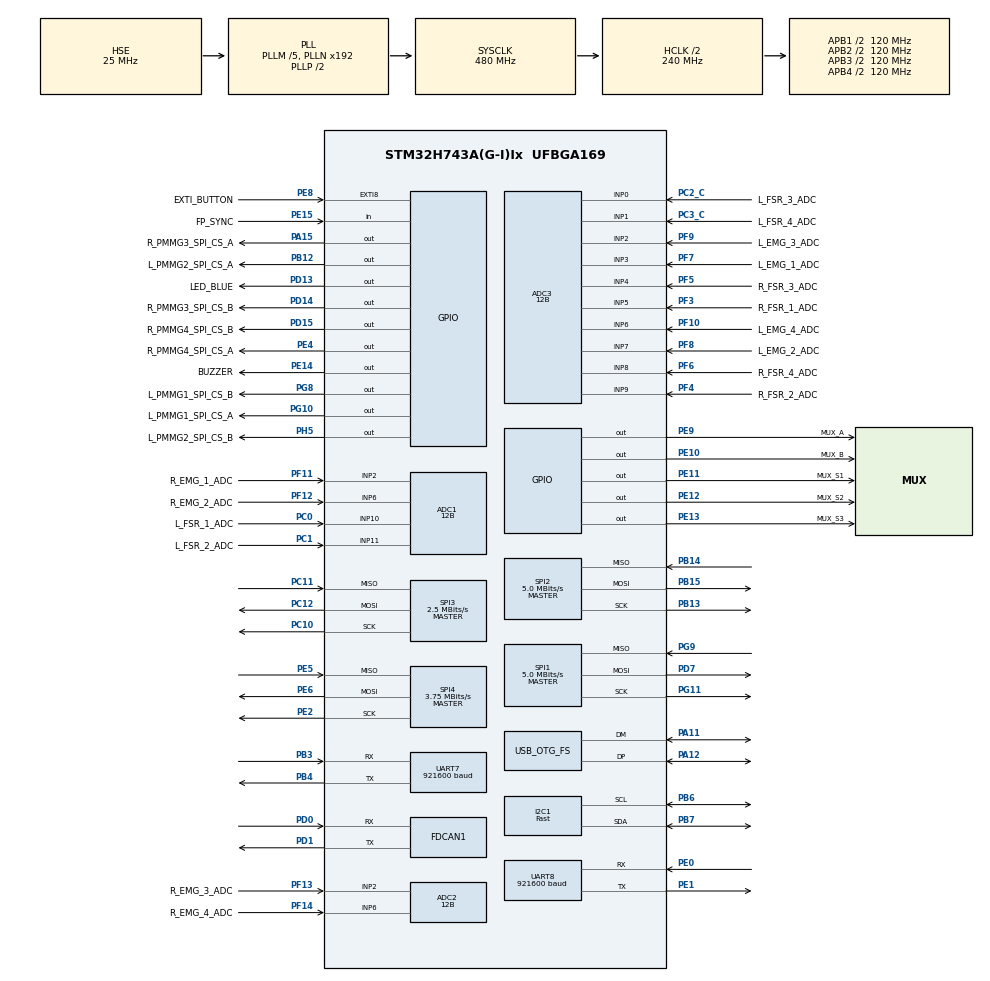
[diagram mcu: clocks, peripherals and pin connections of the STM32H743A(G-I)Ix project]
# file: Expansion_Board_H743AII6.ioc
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ADC1.Channel-1\#ChannelRegularConversion=ADC_CHANNEL_2
ADC1.Channel-2\#ChannelRegularConversion=ADC_CHANNEL_6
ADC1.Channel-3\#ChannelRegularConversion=ADC_CHANNEL_10
ADC1.Channel-4\#ChannelRegularConversion=ADC_CHANNEL_11
ADC1.ClockPrescaler=ADC_CLOCK_ASYNC_DIV16
ADC1.ClockPrescalerADC3=ADC_CLOCK_ASYNC_DIV16
ADC1.ContinuousConvMode=ENABLE
ADC1.ConversionDataManagement=ADC_CONVERSIONDATA_DMA_CIRCULAR
ADC1.EOCSelection=ADC_EOC_SEQ_CONV
ADC1.NbrOfConversion=4
ADC1.NbrOfConversionFlag=1
ADC1.OffsetNumber-1\#ChannelRegularConversion=ADC_OFFSET_NONE
ADC1.OffsetNumber-2\#ChannelRegularConversion=ADC_OFFSET_NONE
ADC1.OffsetNumber-3\#ChannelRegularConversion=ADC_OFFSET_NONE
ADC1.OffsetNumber-4\#ChannelRegularConversion=ADC_OFFSET_NONE
ADC1.OffsetSignedSaturation-1\#ChannelRegularConversion=DISABLE
ADC1.Rank-1\#ChannelRegularConversion=1
ADC1.Rank-2\#ChannelRegularConversion=2
ADC1.Rank-3\#ChannelRegularConversion=3
ADC1.Rank-4\#ChannelRegularConversion=4
ADC1.Resolution=ADC_RESOLUTION_12B
ADC1.SamplingTime-1\#ChannelRegularConversion=ADC_SAMPLETIME_32CYCLES_5
ADC1.SamplingTime-2\#ChannelRegularConversion=ADC_SAMPLETIME_32CYCLES_5
ADC1.SamplingTime-3\#ChannelRegularConversion=ADC_SAMPLETIME_32CYCLES_5
ADC1.SamplingTime-4\#ChannelRegularConversion=ADC_SAMPLETIME_32CYCLES_5
ADC1.master=1
ADC2.Channel-0\#ChannelRegularConversion=ADC_CHANNEL_2
ADC2.Channel-1\#ChannelRegularConversion=ADC_CHANNEL_6
ADC2.ClockPrescaler=ADC_CLOCK_ASYNC_DIV16
ADC2.ClockPrescalerADC3=ADC_CLOCK_ASYNC_DIV16
ADC2.ContinuousConvMode=ENABLE
ADC2.ConversionDataManagement=ADC_CONVERSIONDATA_DMA_CIRCULAR
ADC2.EOCSelection=ADC_EOC_SEQ_CONV
ADC2.NbrOfConversion=2
ADC2.NbrOfConversionFlag=1
ADC2.OffsetNumber-0\#ChannelRegularConversion=ADC_OFFSET_NONE
ADC2.OffsetNumber-1\#ChannelRegularConversion=ADC_OFFSET_NONE
ADC2.OffsetSignedSaturation-0\#ChannelRegularConversion=DISABLE
ADC2.Rank-0\#ChannelRegularConversion=1
ADC2.Rank-1\#ChannelRegularConversion=2
ADC2.Resolution=ADC_RESOLUTION_12B
ADC2.SamplingTime-0\#ChannelRegularConversion=ADC_SAMPLETIME_32CYCLES_5
ADC2.SamplingTime-1\#ChannelRegularConversion=ADC_SAMPLETIME_32CYCLES_5
ADC3.Channel-0\#ChannelRegularConversion=ADC_CHANNEL_0
ADC3.Channel-1\#ChannelRegularConversion=ADC_CHANNEL_1
ADC3.Channel-2\#ChannelRegularConversion=ADC_CHANNEL_2
ADC3.Channel-3\#ChannelRegularConversion=ADC_CHANNEL_3
ADC3.Channel-4\#ChannelRegularConversion=ADC_CHANNEL_4
ADC3.Channel-5\#ChannelRegularConversion=ADC_CHANNEL_5
ADC3.Channel-6\#ChannelRegularConversion=ADC_CHANNEL_6
ADC3.Channel-7\#ChannelRegularConversion=ADC_CHANNEL_7
ADC3.Channel-8\#ChannelRegularConversion=ADC_CHANNEL_8
ADC3.Channel-9\#ChannelRegularConversion=ADC_CHANNEL_9
ADC3.ClockPrescaler=ADC_CLOCK_ASYNC_DIV16
ADC3.ClockPrescalerADC3=ADC_CLOCK_ASYNC_DIV16
ADC3.ContinuousConvMode=ENABLE
ADC3.ConversionDataManagement=ADC_CONVERSIONDATA_DMA_CIRCULAR
ADC3.EOCSelection=ADC_EOC_SEQ_CONV
ADC3.NbrOfConversion=10
ADC3.NbrOfConversionFlag=1
ADC3.OffsetNumber-0\#ChannelRegularConversion=ADC_OFFSET_NONE
ADC3.OffsetNumber-1\#ChannelRegularConversion=ADC_OFFSET_NONE
ADC3.OffsetNumber-2\#ChannelRegularConversion=ADC_OFFSET_NONE
ADC3.OffsetNumber-3\#ChannelRegularConversion=ADC_OFFSET_NONE
ADC3.OffsetNumber-4\#ChannelRegularConversion=ADC_OFFSET_NONE
ADC3.OffsetNumber-5\#ChannelRegularConversion=ADC_OFFSET_NONE
ADC3.OffsetNumber-6\#ChannelRegularConversion=ADC_OFFSET_NONE
ADC3.OffsetNumber-7\#ChannelRegularConversion=ADC_OFFSET_NONE
ADC3.OffsetNumber-8\#ChannelRegularConversion=ADC_OFFSET_NONE
ADC3.OffsetNumber-9\#ChannelRegularConversion=ADC_OFFSET_NONE
ADC3.OffsetSignedSaturation-0\#ChannelRegularConversion=DISABLE
ADC3.Rank-0\#ChannelRegularConversion=1
ADC3.Rank-1\#ChannelRegularConversion=2
ADC3.Rank-2\#ChannelRegularConversion=3
ADC3.Rank-3\#ChannelRegularConversion=4
ADC3.Rank-4\#ChannelRegularConversion=5
ADC3.Rank-5\#ChannelRegularConversion=6
ADC3.Rank-6\#ChannelRegularConversion=7
ADC3.Rank-7\#ChannelRegularConversion=8
ADC3.Rank-8\#ChannelRegularConversion=9
ADC3.Rank-9\#ChannelRegularConversion=10
ADC3.Resolution=ADC_RESOLUTION_12B
ADC3.SamplingTime-0\#ChannelRegularConversion=ADC_SAMPLETIME_32CYCLES_5
ADC3.SamplingTime-1\#ChannelRegularConversion=ADC_SAMPLETIME_32CYCLES_5
ADC3.SamplingTime-2\#ChannelRegularConversion=ADC_SAMPLETIME_32CYCLES_5
ADC3.SamplingTime-3\#ChannelRegularConversion=ADC_SAMPLETIME_32CYCLES_5
ADC3.SamplingTime-4\#ChannelRegularConversion=ADC_SAMPLETIME_32CYCLES_5
ADC3.SamplingTime-5\#ChannelRegularConversion=ADC_SAMPLETIME_32CYCLES_5
ADC3.SamplingTime-6\#ChannelRegularConversion=ADC_SAMPLETIME_32CYCLES_5
ADC3.SamplingTime-7\#ChannelRegularConversion=ADC_SAMPLETIME_32CYCLES_5
ADC3.SamplingTime-8\#ChannelRegularConversion=ADC_SAMPLETIME_32CYCLES_5
ADC3.SamplingTime-9\#ChannelRegularConversion=ADC_SAMPLETIME_32CYCLES_5
CORTEX_M7.AccessPermission-Cortex_Memory_Protection_Unit_Region0_Settings=MPU_REGION_FULL_ACCESS
CORTEX_M7.BaseAddress-Cortex_Memory_Protection_Unit_Region0_Settings=0x30000000
CORTEX_M7.CPU_DCache=Enabled
CORTEX_M7.CPU_ICache=Enabled
CORTEX_M7.DisableExec-Cortex_Memory_Protection_Unit_Region0_Settings=MPU_INSTRUCTION_ACCESS_DISABLE
CORTEX_M7.Enable-Cortex_Memory_Protection_Unit_Region0_Settings=MPU_REGION_ENABLE
CORTEX_M7.IsShareable-Cortex_Memory_Protection_Unit_Region0_Settings=MPU_ACCESS_SHAREABLE
CORTEX_M7.MPU_Control=MPU_PRIVILEGED_DEFAULT
CORTEX_M7.Size-Cortex_Memory_Protection_Unit_Region0_Settings=MPU_REGION_SIZE_32KB
CORTEX_M7.TypeExtField-Cortex_Memory_Protection_Unit_Region0_Settings=MPU_TEX_LEVEL1
Dma.ADC1.0.Direction=DMA_PERIPH_TO_MEMORY
Dma.ADC1.0.EventEnable=DISABLE
Dma.ADC1.0.FIFOMode=DMA_FIFOMODE_DISABLE
Dma.ADC1.0.Instance=DMA1_Stream0
Dma.ADC1.0.MemDataAlignment=DMA_MDATAALIGN_HALFWORD
Dma.ADC1.0.MemInc=DMA_MINC_ENABLE
Dma.ADC1.0.Mode=DMA_CIRCULAR
Dma.ADC1.0.PeriphDataAlignment=DMA_PDATAALIGN_HALFWORD
Dma.ADC1.0.PeriphInc=DMA_PINC_DISABLE
Dma.ADC1.0.Polarity=HAL_DMAMUX_REQ_GEN_RISING
Dma.ADC1.0.Priority=DMA_PRIORITY_LOW
Dma.ADC1.0.RequestNumber=1
Dma.ADC1.0.SignalID=NONE
Dma.ADC1.0.SyncEnable=DISABLE
Dma.ADC1.0.SyncPolarity=HAL_DMAMUX_SYNC_NO_EVENT
Dma.ADC1.0.SyncRequestNumber=1
Dma.ADC1.0.SyncSignalID=NONE
Dma.ADC2.2.Direction=DMA_PERIPH_TO_MEMORY
Dma.ADC2.2.EventEnable=DISABLE
Dma.ADC2.2.FIFOMode=DMA_FIFOMODE_DISABLE
Dma.ADC2.2.Instance=DMA1_Stream1
Dma.ADC2.2.MemDataAlignment=DMA_MDATAALIGN_HALFWORD
Dma.ADC2.2.MemInc=DMA_MINC_ENABLE
Dma.ADC2.2.Mode=DMA_CIRCULAR
Dma.ADC2.2.PeriphDataAlignment=DMA_PDATAALIGN_HALFWORD
Dma.ADC2.2.PeriphInc=DMA_PINC_DISABLE
Dma.ADC2.2.Polarity=HAL_DMAMUX_REQ_GEN_RISING
Dma.ADC2.2.Priority=DMA_PRIORITY_LOW
Dma.ADC2.2.RequestNumber=1
Dma.ADC2.2.SignalID=NONE
Dma.ADC2.2.SyncEnable=DISABLE
Dma.ADC2.2.SyncPolarity=HAL_DMAMUX_SYNC_NO_EVENT
Dma.ADC2.2.SyncRequestNumber=1
Dma.ADC2.2.SyncSignalID=NONE
Dma.ADC3.3.Direction=DMA_PERIPH_TO_MEMORY
Dma.ADC3.3.EventEnable=DISABLE
Dma.ADC3.3.FIFOMode=DMA_FIFOMODE_DISABLE
Dma.ADC3.3.Instance=DMA1_Stream2
Dma.ADC3.3.MemDataAlignment=DMA_MDATAALIGN_HALFWORD
Dma.ADC3.3.MemInc=DMA_MINC_ENABLE
Dma.ADC3.3.Mode=DMA_CIRCULAR
Dma.ADC3.3.PeriphDataAlignment=DMA_PDATAALIGN_HALFWORD
Dma.ADC3.3.PeriphInc=DMA_PINC_DISABLE
Dma.ADC3.3.Polarity=HAL_DMAMUX_REQ_GEN_RISING
Dma.ADC3.3.Priority=DMA_PRIORITY_LOW
Dma.ADC3.3.RequestNumber=1
Dma.ADC3.3.SignalID=NONE
Dma.ADC3.3.SyncEnable=DISABLE
Dma.ADC3.3.SyncPolarity=HAL_DMAMUX_SYNC_NO_EVENT
Dma.ADC3.3.SyncRequestNumber=1
Dma.ADC3.3.SyncSignalID=NONE
Dma.I2C1_RX.1.Direction=DMA_PERIPH_TO_MEMORY
Dma.I2C1_RX.1.EventEnable=DISABLE
Dma.I2C1_RX.1.FIFOMode=DMA_FIFOMODE_DISABLE
Dma.I2C1_RX.1.Instance=DMA2_Stream0
Dma.I2C1_RX.1.MemDataAlignment=DMA_MDATAALIGN_BYTE
Dma.I2C1_RX.1.MemInc=DMA_MINC_ENABLE
Dma.I2C1_RX.1.Mode=DMA_NORMAL
Dma.I2C1_RX.1.PeriphDataAlignment=DMA_PDATAALIGN_BYTE
Dma.I2C1_RX.1.PeriphInc=DMA_PINC_DISABLE
Dma.I2C1_RX.1.Polarity=HAL_DMAMUX_REQ_GEN_RISING
Dma.I2C1_RX.1.Priority=DMA_PRIORITY_LOW
Dma.I2C1_RX.1.RequestNumber=1
Dma.I2C1_RX.1.SignalID=NONE
Dma.I2C1_RX.1.SyncEnable=DISABLE
Dma.I2C1_RX.1.SyncPolarity=HAL_DMAMUX_SYNC_NO_EVENT
Dma.I2C1_RX.1.SyncRequestNumber=1
Dma.I2C1_RX.1.SyncSignalID=NONE
Dma.Request0=ADC1
Dma.Request1=I2C1_RX
Dma.Request2=ADC2
Dma.Request3=ADC3
Dma.Request4=UART7_TX
Dma.Request5=UART8_TX
Dma.Request6=UART7_RX
Dma.Request7=UART8_RX
Dma.UART7_RX.6.Direction=DMA_PERIPH_TO_MEMORY
Dma.UART7_RX.6.EventEnable=DISABLE
Dma.UART7_RX.6.FIFOMode=DMA_FIFOMODE_DISABLE
Dma.UART7_RX.6.Instance=DMA1_Stream3
Dma.UART7_RX.6.MemDataAlignment=DMA_MDATAALIGN_BYTE
Dma.UART7_RX.6.MemInc=DMA_MINC_ENABLE
Dma.UART7_RX.6.Mode=DMA_CIRCULAR
Dma.UART7_RX.6.PeriphDataAlignment=DMA_PDATAALIGN_BYTE
Dma.UART7_RX.6.PeriphInc=DMA_PINC_DISABLE
Dma.UART7_RX.6.Polarity=HAL_DMAMUX_REQ_GEN_RISING
Dma.UART7_RX.6.Priority=DMA_PRIORITY_LOW
Dma.UART7_RX.6.RequestNumber=1
Dma.UART7_RX.6.SignalID=NONE
Dma.UART7_RX.6.SyncEnable=DISABLE
Dma.UART7_RX.6.SyncPolarity=HAL_DMAMUX_SYNC_NO_EVENT
Dma.UART7_RX.6.SyncRequestNumber=1
Dma.UART7_RX.6.SyncSignalID=NONE
Dma.UART7_TX.4.Direction=DMA_MEMORY_TO_PERIPH
Dma.UART7_TX.4.EventEnable=DISABLE
Dma.UART7_TX.4.FIFOMode=DMA_FIFOMODE_DISABLE
Dma.UART7_TX.4.Instance=DMA1_Stream4
Dma.UART7_TX.4.MemDataAlignment=DMA_MDATAALIGN_BYTE
Dma.UART7_TX.4.MemInc=DMA_MINC_ENABLE
Dma.UART7_TX.4.Mode=DMA_NORMAL
Dma.UART7_TX.4.PeriphDataAlignment=DMA_PDATAALIGN_BYTE
Dma.UART7_TX.4.PeriphInc=DMA_PINC_DISABLE
Dma.UART7_TX.4.Polarity=HAL_DMAMUX_REQ_GEN_RISING
Dma.UART7_TX.4.Priority=DMA_PRIORITY_LOW
Dma.UART7_TX.4.RequestNumber=1
Dma.UART7_TX.4.SignalID=NONE
Dma.UART7_TX.4.SyncEnable=DISABLE
Dma.UART7_TX.4.SyncPolarity=HAL_DMAMUX_SYNC_NO_EVENT
Dma.UART7_TX.4.SyncRequestNumber=1
Dma.UART7_TX.4.SyncSignalID=NONE
Dma.UART8_RX.7.Direction=DMA_PERIPH_TO_MEMORY
Dma.UART8_RX.7.EventEnable=DISABLE
Dma.UART8_RX.7.FIFOMode=DMA_FIFOMODE_DISABLE
Dma.UART8_RX.7.Instance=DMA1_Stream5
Dma.UART8_RX.7.MemDataAlignment=DMA_MDATAALIGN_BYTE
Dma.UART8_RX.7.MemInc=DMA_MINC_ENABLE
Dma.UART8_RX.7.Mode=DMA_CIRCULAR
Dma.UART8_RX.7.PeriphDataAlignment=DMA_PDATAALIGN_BYTE
Dma.UART8_RX.7.PeriphInc=DMA_PINC_DISABLE
Dma.UART8_RX.7.Polarity=HAL_DMAMUX_REQ_GEN_RISING
Dma.UART8_RX.7.Priority=DMA_PRIORITY_LOW
Dma.UART8_RX.7.RequestNumber=1
Dma.UART8_RX.7.SignalID=NONE
Dma.UART8_RX.7.SyncEnable=DISABLE
Dma.UART8_RX.7.SyncPolarity=HAL_DMAMUX_SYNC_NO_EVENT
Dma.UART8_RX.7.SyncRequestNumber=1
Dma.UART8_RX.7.SyncSignalID=NONE
Dma.UART8_TX.5.Direction=DMA_MEMORY_TO_PERIPH
Dma.UART8_TX.5.EventEnable=DISABLE
Dma.UART8_TX.5.FIFOMode=DMA_FIFOMODE_DISABLE
Dma.UART8_TX.5.Instance=DMA2_Stream2
Dma.UART8_TX.5.MemDataAlignment=DMA_MDATAALIGN_BYTE
Dma.UART8_TX.5.MemInc=DMA_MINC_ENABLE
Dma.UART8_TX.5.Mode=DMA_NORMAL
Dma.UART8_TX.5.PeriphDataAlignment=DMA_PDATAALIGN_BYTE
Dma.UART8_TX.5.PeriphInc=DMA_PINC_DISABLE
Dma.UART8_TX.5.Polarity=HAL_DMAMUX_REQ_GEN_RISING
Dma.UART8_TX.5.Priority=DMA_PRIORITY_LOW
Dma.UART8_TX.5.RequestNumber=1
Dma.UART8_TX.5.SignalID=NONE
Dma.UART8_TX.5.SyncEnable=DISABLE
Dma.UART8_TX.5.SyncPolarity=HAL_DMAMUX_SYNC_NO_EVENT
Dma.UART8_TX.5.SyncRequestNumber=1
Dma.UART8_TX.5.SyncSignalID=NONE
FDCAN1.AutoRetransmission=ENABLE
FDCAN1.CalculateBaudRateNominal=1000000
FDCAN1.CalculateTimeBitNominal=1000
FDCAN1.CalculateTimeQuantumNominal=125.0
FDCAN1.DataPrescaler=1
FDCAN1.DataSyncJumpWidth=4
FDCAN1.DataTimeSeg1=11
FDCAN1.DataTimeSeg2=4
FDCAN1.FrameFormat=FDCAN_FRAME_FD_BRS
FDCAN1.NominalPrescaler=10
FDCAN1.NominalSyncJumpWidth=2
FDCAN1.NominalTimeSeg1=5
FDCAN1.NominalTimeSeg2=2
FDCAN1.RxBufferSize=FDCAN_DATA_BYTES_64
FDCAN1.RxBuffersNbr=4
FDCAN1.RxFifo0ElmtSize=FDCAN_DATA_BYTES_64
FDCAN1.RxFifo0ElmtsNbr=4
FDCAN1.RxFifo1ElmtSize=FDCAN_DATA_BYTES_64
FDCAN1.RxFifo1ElmtsNbr=4
FDCAN1.StdFiltersNbr=1
FDCAN1.TransmitPause=ENABLE
FDCAN1.TxBuffersNbr=4
FDCAN1.TxElmtSize=FDCAN_DATA_BYTES_64
FDCAN1.TxEventsNbr=4
FDCAN1.TxFifoQueueElmtsNbr=16
FDCAN1.TxFifoQueueMode=FDCAN_TX_QUEUE_OPERATION
I2C1.I2C_Speed_Mode=I2C_Fast
I2C1.Timing=0x00B03FDB
Mcu.Family=STM32H7
Mcu.Name=STM32H743A(G-I)Ix
Mcu.Package=UFBGA169
NVIC.DMA1_Stream0_IRQn=true\:3\:0\:true\:false\:true\:false\:true\:true
NVIC.DMA1_Stream1_IRQn=true\:3\:0\:true\:false\:true\:false\:true\:true
NVIC.DMA1_Stream2_IRQn=true\:3\:0\:true\:false\:true\:false\:true\:true
NVIC.DMA1_Stream3_IRQn=true\:5\:0\:true\:false\:true\:false\:true\:true
NVIC.DMA1_Stream4_IRQn=true\:2\:0\:true\:false\:true\:false\:true\:true
NVIC.DMA1_Stream5_IRQn=true\:5\:0\:true\:false\:true\:false\:true\:true
NVIC.DMA2_Stream0_IRQn=true\:5\:0\:true\:false\:true\:false\:true\:true
NVIC.DMA2_Stream2_IRQn=true\:2\:0\:true\:false\:true\:false\:true\:true
NVIC.EXTI9_5_IRQn=true\:0\:0\:true\:false\:true\:true\:true\:true
NVIC.FDCAN1_IT0_IRQn=true\:0\:0\:false\:false\:true\:true\:true\:true
NVIC.FDCAN1_IT1_IRQn=true\:0\:0\:false\:false\:true\:true\:true\:true
NVIC.FDCAN_CAL_IRQn=true\:14\:0\:true\:false\:true\:true\:true\:true
NVIC.I2C1_EV_IRQn=true\:5\:0\:true\:false\:true\:true\:true\:true
NVIC.OTG_FS_IRQn=true\:0\:0\:false\:false\:true\:false\:true\:true
NVIC.PriorityGroup=NVIC_PRIORITYGROUP_4
NVIC.SPI1_IRQn=true\:1\:0\:true\:false\:true\:true\:true\:true
NVIC.SPI2_IRQn=true\:1\:0\:true\:false\:true\:true\:true\:true
NVIC.SPI3_IRQn=true\:1\:0\:true\:false\:true\:true\:true\:true
NVIC.SPI4_IRQn=true\:1\:0\:true\:false\:true\:true\:true\:true
NVIC.TIM2_IRQn=true\:4\:0\:true\:false\:true\:true\:true\:true
NVIC.TIM3_IRQn=true\:4\:0\:true\:false\:true\:true\:true\:true
NVIC.TIM6_DAC_IRQn=true\:3\:0\:true\:false\:true\:true\:true\:true
NVIC.UART7_IRQn=true\:2\:0\:true\:false\:true\:true\:true\:true
NVIC.UART8_IRQn=true\:2\:0\:true\:false\:true\:true\:true\:true
PA11.Mode=Device_Only
PA11.Signal=USB_OTG_FS_DM
PA12.Mode=Device_Only
PA12.Signal=USB_OTG_FS_DP
PA15\ (JTDI).GPIO_Label=R_PMMG3_SPI_CS_A
PA15\ (JTDI).GPIO_PuPd=GPIO_PULLUP
PA15\ (JTDI).GPIO_Speed=GPIO_SPEED_FREQ_HIGH
PA15\ (JTDI).PinState=GPIO_PIN_SET
PA15\ (JTDI).Signal=GPIO_Output
PB12.GPIO_Label=L_PMMG2_SPI_CS_A
PB12.GPIO_PuPd=GPIO_PULLUP
PB12.GPIO_Speed=GPIO_SPEED_FREQ_HIGH
PB12.PinState=GPIO_PIN_SET
PB12.Signal=GPIO_Output
PB13.Mode=Full_Duplex_Master
PB13.Signal=SPI2_SCK
PB14.Mode=Full_Duplex_Master
PB14.Signal=SPI2_MISO
PB15.Mode=Full_Duplex_Master
PB15.Signal=SPI2_MOSI
PB3\ (JTDO/TRACESWO).Mode=Asynchronous
PB3\ (JTDO/TRACESWO).Signal=UART7_RX
PB4\ (NJTRST).Mode=Asynchronous
PB4\ (NJTRST).Signal=UART7_TX
PB6.Mode=I2C
PB6.Signal=I2C1_SCL
PB7.Mode=I2C
PB7.Signal=I2C1_SDA
PC0.GPIO_Label=L_FSR_1_ADC
PC0.Signal=ADCx_INP10
PC1.GPIO_Label=L_FSR_2_ADC
PC1.Signal=ADCx_INP11
PC10.Mode=Full_Duplex_Master
PC10.Signal=SPI3_SCK
PC11.Mode=Full_Duplex_Master
PC11.Signal=SPI3_MISO
PC12.Mode=Full_Duplex_Master
PC12.Signal=SPI3_MOSI
PC14-OSC32_IN\ (OSC32_IN).Mode=LSE-External-Oscillator
PC14-OSC32_IN\ (OSC32_IN).Signal=RCC_OSC32_IN
PC15-OSC32_OUT\ (OSC32_OUT).Mode=LSE-External-Oscillator
PC15-OSC32_OUT\ (OSC32_OUT).Signal=RCC_OSC32_OUT
PC2_C.GPIO_Label=L_FSR_3_ADC
PC2_C.Mode=IN0-Single-Ended
PC2_C.Signal=ADC3_INP0
PC3_C.GPIO_Label=L_FSR_4_ADC
PC3_C.Mode=IN1-Single-Ended
PC3_C.Signal=ADC3_INP1
PD0.Mode=FDCAN_Activate
PD0.Signal=FDCAN1_RX
PD1.Mode=FDCAN_Activate
PD1.Signal=FDCAN1_TX
PD13.GPIO_Label=LED_BLUE
PD13.GPIO_PuPd=GPIO_NOPULL
PD13.GPIO_Speed=GPIO_SPEED_FREQ_LOW
PD13.PinState=GPIO_PIN_RESET
PD13.Signal=GPIO_Output
PD14.GPIO_Label=R_PMMG3_SPI_CS_B
PD14.GPIO_PuPd=GPIO_PULLUP
PD14.GPIO_Speed=GPIO_SPEED_FREQ_HIGH
PD14.PinState=GPIO_PIN_SET
PD14.Signal=GPIO_Output
PD15.GPIO_Label=R_PMMG4_SPI_CS_B
PD15.GPIO_PuPd=GPIO_PULLUP
PD15.GPIO_Speed=GPIO_SPEED_FREQ_HIGH
PD15.PinState=GPIO_PIN_SET
PD15.Signal=GPIO_Output
PD7.GPIO_Mode=GPIO_MODE_AF_PP
PD7.GPIO_PuPd=GPIO_NOPULL
PD7.GPIO_Speed=GPIO_SPEED_FREQ_LOW
PD7.Mode=Full_Duplex_Master
PD7.Signal=SPI1_MOSI
PE0.Mode=Asynchronous
PE0.Signal=UART8_RX
PE1.Mode=Asynchronous
PE1.Signal=UART8_TX
PE10.GPIO_Label=MUX_B
PE10.Signal=GPIO_Output
PE11.GPIO_Label=MUX_S1
PE11.Signal=GPIO_Output
PE12.GPIO_Label=MUX_S2
PE12.Signal=GPIO_Output
PE13.GPIO_Label=MUX_S3
PE13.Signal=GPIO_Output
PE14.GPIO_Label=BUZZER
PE14.Signal=GPIO_Output
PE15.GPIO_Label=FP_SYNC
PE15.Signal=GPIO_Input
PE2.Mode=Full_Duplex_Master
PE2.Signal=SPI4_SCK
PE4.GPIO_Label=R_PMMG4_SPI_CS_A
PE4.GPIO_PuPd=GPIO_PULLUP
PE4.GPIO_Speed=GPIO_SPEED_FREQ_HIGH
PE4.PinState=GPIO_PIN_SET
PE4.Signal=GPIO_Output
PE5.Mode=Full_Duplex_Master
PE5.Signal=SPI4_MISO
PE6.Mode=Full_Duplex_Master
PE6.Signal=SPI4_MOSI
PE8.GPIO_Label=EXTI_BUTTON
PE8.GPIO_ModeDefaultEXTI=GPIO_MODE_IT_RISING
PE8.GPIO_PuPd=GPIO_PULLDOWN
PE8.Signal=GPXTI8
PE9.GPIO_Label=MUX_A
PE9.Signal=GPIO_Output
PF10.GPIO_Label=L_EMG_4_ADC
PF10.Mode=IN6-Single-Ended
PF10.Signal=ADC3_INP6
PF11.GPIO_Label=R_EMG_1_ADC
PF11.Mode=IN2-Single-Ended
PF11.Signal=ADC1_INP2
PF12.GPIO_Label=R_EMG_2_ADC
PF12.Mode=IN6-Single-Ended
PF12.Signal=ADC1_INP6
PF13.GPIO_Label=R_EMG_3_ADC
PF13.Mode=IN2-Single-Ended
PF13.Signal=ADC2_INP2
PF14.GPIO_Label=R_EMG_4_ADC
PF14.Mode=IN6-Single-Ended
PF14.Signal=ADC2_INP6
PF3.GPIO_Label=R_FSR_1_ADC
PF3.Mode=IN5-Single-Ended
PF3.Signal=ADC3_INP5
PF4.GPIO_Label=R_FSR_2_ADC
PF4.Mode=IN9-Single-Ended
PF4.Signal=ADC3_INP9
PF5.GPIO_Label=R_FSR_3_ADC
PF5.Mode=IN4-Single-Ended
PF5.Signal=ADC3_INP4
PF6.GPIO_Label=R_FSR_4_ADC
PF6.Mode=IN8-Single-Ended
PF6.Signal=ADC3_INP8
PF7.GPIO_Label=L_EMG_1_ADC
PF7.Mode=IN3-Single-Ended
PF7.Signal=ADC3_INP3
PF8.GPIO_Label=L_EMG_2_ADC
PF8.Mode=IN7-Single-Ended
PF8.Signal=ADC3_INP7
PF9.GPIO_Label=L_EMG_3_ADC
PF9.Mode=IN2-Single-Ended
PF9.Signal=ADC3_INP2
PG10.GPIO_Label=L_PMMG1_SPI_CS_A
PG10.GPIO_PuPd=GPIO_PULLUP
PG10.GPIO_Speed=GPIO_SPEED_FREQ_HIGH
PG10.PinState=GPIO_PIN_SET
PG10.Signal=GPIO_Output
PG11.GPIO_Mode=GPIO_MODE_AF_PP
PG11.GPIO_PuPd=GPIO_NOPULL
PG11.GPIO_Speed=GPIO_SPEED_FREQ_LOW
PG11.Mode=Full_Duplex_Master
PG11.Signal=SPI1_SCK
PG8.GPIO_Label=L_PMMG1_SPI_CS_B
PG8.GPIO_PuPd=GPIO_PULLUP
PG8.GPIO_Speed=GPIO_SPEED_FREQ_HIGH
PG8.PinState=GPIO_PIN_SET
PG8.Signal=GPIO_Output
PG9.GPIO_Mode=GPIO_MODE_AF_PP
PG9.GPIO_PuPd=GPIO_NOPULL
PG9.GPIO_Speed=GPIO_SPEED_FREQ_LOW
PG9.Mode=Full_Duplex_Master
PG9.Signal=SPI1_MISO
PH0-OSC_IN\ (PH0).Mode=HSE-External-Oscillator
PH0-OSC_IN\ (PH0).Signal=RCC_OSC_IN
PH1-OSC_OUT\ (PH1).Mode=HSE-External-Oscillator
PH1-OSC_OUT\ (PH1).Signal=RCC_OSC_OUT
PH5.GPIO_Label=L_PMMG2_SPI_CS_B
PH5.GPIO_PuPd=GPIO_PULLUP
PH5.GPIO_Speed=GPIO_SPEED_FREQ_HIGH
PH5.PinState=GPIO_PIN_SET
PH5.Signal=GPIO_Output
ProjectManager.HeapSize=0x200
ProjectManager.StackSize=0x400
ProjectManager.TargetToolchain=STM32CubeIDE
RCC.ADCFreq_Value=80000000
RCC.APB1Freq_Value=120000000
RCC.APB2Freq_Value=120000000
RCC.APB3Freq_Value=120000000
RCC.APB4Freq_Value=120000000
RCC.CKPERSourceSelection=RCC_CLKPSOURCE_HSE
RCC.CortexFreq_Value=480000000
RCC.D1PPRE=RCC_APB3_DIV2
RCC.D2PPRE1=RCC_APB1_DIV2
RCC.D2PPRE2=RCC_APB2_DIV2
RCC.D3PPRE=RCC_APB4_DIV2
RCC.DIVM1=5
RCC.DIVM2=5
RCC.DIVM3=5
RCC.DIVN1=192
RCC.DIVN2=80
RCC.DIVN3=192
RCC.DIVP2=5
RCC.DIVP3=5
RCC.DIVQ1=12
RCC.DIVQ3=20
RCC.DIVR3=10
RCC.HCLKFreq_Value=240000000
RCC.HPRE=RCC_HCLK_DIV2
RCC.PLLSourceVirtual=RCC_PLLSOURCE_HSE
RCC.PWR_Regulator_Voltage_Scale=PWR_REGULATOR_VOLTAGE_SCALE0
RCC.SYSCLKFreq_VALUE=480000000
RCC.SYSCLKSource=RCC_SYSCLKSOURCE_PLLCLK
RCC.USBCLockSelection=RCC_USBCLKSOURCE_HSI48
RCC.USBFreq_Value=48000000
SH.ADCx_INP10.0=ADC1_INP10,IN10-Single-Ended
SH.ADCx_INP11.0=ADC1_INP11,IN11-Single-Ended
SPI1.BaudRatePrescaler=SPI_BAUDRATEPRESCALER_16
SPI1.CalculateBaudRate=5.0 MBits/s
SPI1.DataSize=SPI_DATASIZE_8BIT
SPI1.Direction=SPI_DIRECTION_2LINES
SPI1.Mode=SPI_MODE_MASTER
SPI1.VirtualType=VM_MASTER
SPI2.BaudRatePrescaler=SPI_BAUDRATEPRESCALER_16
SPI2.CalculateBaudRate=5.0 MBits/s
SPI2.DataSize=SPI_DATASIZE_8BIT
SPI2.Direction=SPI_DIRECTION_2LINES
SPI2.Mode=SPI_MODE_MASTER
SPI2.VirtualType=VM_MASTER
SPI3.BaudRatePrescaler=SPI_BAUDRATEPRESCALER_32
SPI3.CalculateBaudRate=2.5 MBits/s
SPI3.DataSize=SPI_DATASIZE_8BIT
SPI3.Direction=SPI_DIRECTION_2LINES
SPI3.Mode=SPI_MODE_MASTER
SPI3.VirtualType=VM_MASTER
SPI4.BaudRatePrescaler=SPI_BAUDRATEPRESCALER_32
SPI4.CalculateBaudRate=3.75 MBits/s
SPI4.DataSize=SPI_DATASIZE_8BIT
SPI4.Direction=SPI_DIRECTION_2LINES
SPI4.Mode=SPI_MODE_MASTER
SPI4.VirtualType=VM_MASTER
TIM2.AutoReloadPreload=TIM_AUTORELOAD_PRELOAD_ENABLE
TIM2.Period=1000-1
TIM2.Prescaler=240-1
TIM3.AutoReloadPreload=TIM_AUTORELOAD_PRELOAD_ENABLE
TIM3.Period=1000-1
TIM3.Prescaler=240-1
TIM6.AutoReloadPreload=TIM_AUTORELOAD_PRELOAD_ENABLE
TIM6.Period=1000-1
TIM6.Prescaler=240-1
UART7.BaudRate=921600
UART8.BaudRate=921600
USB_DEVICE.CLASS_NAME_FS=CDC
USB_DEVICE.VirtualMode-CDC_FS=Cdc
USB_DEVICE.VirtualModeFS=Cdc_FS
USB_OTG_FS.VirtualMode=Device_Only
VP_TIM2_VS_ClockSourceINT.Mode=Internal
VP_TIM3_VS_ClockSourceINT.Mode=Internal
VP_TIM6_VS_ClockSourceINT.Mode=Enable_Timer
VP_USB_DEVICE_VS_USB_DEVICE_CDC_FS.Mode=CDC_FS
board=custom

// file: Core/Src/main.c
/* USER CODE BEGIN Header */
/**
  ******************************************************************************
  * @file           : main.c
  * @brief          : Main program body
  ******************************************************************************
  * @attention
  *
  * Copyright (c) 2024 STMicroelectronics.
  * All rights reserved.
  *
  * This software is licensed under terms that can be found in the LICENSE file
  * in the root directory of this software component.
  * If no LICENSE file comes with this software, it is provided AS-IS.
  *
  ******************************************************************************
  */

/**
*******************************************************************************
	[Author]: INVINCIBLE_1NE
*******************************************************************************
*/

/* USER CODE END Header */
#include "main.h"
#include "adc.h"
#include "dma.h"
#include "fdcan.h"
#include "i2c.h"
#include "spi.h"
#include "tim.h"
#include "usart.h"
#include "usb_device.h"
#include "gpio.h"

/* USER CODE BEGIN Includes */
#include "exppack_ctrl.h"
#include "msg_hdlr.h"
//#include "algorithm_ctrl.h"
#include "module.h"

#include "usbd_cdc_if.h"
/* USER CODE END Includes */

void SystemClock_Config(void);
void PeriphCommonClock_Config(void);
static void MPU_Config(void);

int main(void)
{

  /* MPU Configuration--------------------------------------------------------*/
  MPU_Config();
/* Enable the CPU Cache */

  /* Enable I-Cache---------------------------------------------------------*/
  SCB_EnableICache();

  /* Enable D-Cache---------------------------------------------------------*/
  SCB_EnableDCache();

  /* MCU Configuration--------------------------------------------------------*/

  /* Reset of all peripherals, Initializes the Flash interface and the Systick. */
  HAL_Init();

  /* Configure the system clock */
  SystemClock_Config();

/* Configure the peripherals common clocks */
  PeriphCommonClock_Config();

  /* Initialize all configured peripherals */
  MX_GPIO_Init();
  MX_DMA_Init();
  MX_SPI2_Init();
  MX_SPI3_Init();
  MX_SPI4_Init();
  MX_ADC1_Init();
  MX_TIM2_Init();
  MX_TIM6_Init();
  MX_SPI1_Init();
  MX_I2C1_Init();
  MX_ADC3_Init();
  MX_FDCAN1_Init();
  MX_ADC2_Init();
  MX_USB_DEVICE_Init();
  MX_TIM3_Init();
  MX_UART7_Init();
  MX_UART8_Init();
  /* USER CODE BEGIN 2 */

  DOP_CreateSDOTable();
  DOP_CreatePDOTable();

  // Init Indicator - BLUE LED //
  HAL_GPIO_WritePin(GPIOD, LED_BLUE_Pin, GPIO_PIN_SET);

  /* Initialize DWT cycle counter */
  CoreDebug->DEMCR &= ~CoreDebug_DEMCR_TRCENA_Msk;
  CoreDebug->DEMCR |= CoreDebug_DEMCR_TRCENA_Msk;
  DWT->CTRL &= ~DWT_CTRL_CYCCNTENA_Msk;
  DWT->CTRL |= DWT_CTRL_CYCCNTENA_Msk;
  DWT->CYCCNT = 0;

  InitMsgHdlr();
  InitExppackCtrl();
//  InitAlgorithmCtrl();

  /* USER CODE END 2 */

  /* Infinite loop */
  /* USER CODE BEGIN WHILE */
  while (1)
  {
#ifdef BUTTON_MODE

#ifdef AUTO_SENSOR_DETECTION_ON
	  if (GPIO_EXTI_FLAG == BUTTON_STATE_SENSOR_DETECTION && ExpPackDataObj.sensor_detection.SENSOR_DETECTION_DONE == 0) {
		  CheckActivatedSensors(&ExpPackDataObj);
		  ExpPackDataObj.sensor_detection.SENSOR_DETECTION_DONE = 1;

		  /* Alert the Finish of sensor detection */
		  char* tempStr = "Sensor Detection is Done!!\r\n";
		  CDC_Transmit_FS((uint8_t*)tempStr, strlen(tempStr));

		  BUZZER_STATE_FLAG = BUZZER_STATE_COMPLETE_SENSOR_DETECTION;
	  }
#endif

#ifdef USB_CDC_ACTIVATE
	  if (usbTxUpdate != 0) {
		  CDC_Transmit_FS(usbTxBuf, usbTxBufSize);
		  usbTxUpdate = 0;
	  }
#endif

#ifdef BUZZER_MODE
	  if (BUZZER_STATE_FLAG == BUZZER_STATE_COMPLETE_SENSOR_DETECTION) {
		  IOIF_BUZZER_Activation(GPIOE, GPIO_PIN_14, 1, 30);
		  BUZZER_STATE_FLAG = BUZZER_STATE_IDLE;
	  }
	  else if (BUZZER_STATE_FLAG == BUZZER_STATE_COMPLETE_SEND_PROTOCOL) {
		  IOIF_BUZZER_Activation(GPIOE, GPIO_PIN_14, 2, 30);
		  BUZZER_STATE_FLAG = BUZZER_STATE_IDLE;
	  }
	  else if (BUZZER_STATE_FLAG == BUZZER_STATE_START_TX) {
		  IOIF_BUZZER_Activation(GPIOE, GPIO_PIN_14, 3, 30);
		  BUZZER_STATE_FLAG = BUZZER_STATE_IDLE;
	  }
	  else if (BUZZER_STATE_FLAG == BUZZER_STATE_TERMINATION) {
		  IOIF_BUZZER_Activation(GPIOE, GPIO_PIN_14, 1, 500);
		  BUZZER_STATE_FLAG = BUZZER_STATE_IDLE;
	  }
#endif

#endif

    /* USER CODE END WHILE */

  }
}

void SystemClock_Config(void)
{
  RCC_OscInitTypeDef RCC_OscInitStruct = {0};
  RCC_ClkInitTypeDef RCC_ClkInitStruct = {0};

  /** Supply configuration update enable
  */
  HAL_PWREx_ConfigSupply(PWR_LDO_SUPPLY);

  /** Configure the main internal regulator output voltage
  */
  __HAL_PWR_VOLTAGESCALING_CONFIG(PWR_REGULATOR_VOLTAGE_SCALE1);

  while(!__HAL_PWR_GET_FLAG(PWR_FLAG_VOSRDY)) {}

  __HAL_RCC_SYSCFG_CLK_ENABLE();
  __HAL_PWR_VOLTAGESCALING_CONFIG(PWR_REGULATOR_VOLTAGE_SCALE0);

  while(!__HAL_PWR_GET_FLAG(PWR_FLAG_VOSRDY)) {}

  /** Initializes the RCC Oscillators according to the specified parameters
  * in the RCC_OscInitTypeDef structure.
  */
  RCC_OscInitStruct.OscillatorType = RCC_OSCILLATORTYPE_HSI48|RCC_OSCILLATORTYPE_HSE;
  RCC_OscInitStruct.HSEState = RCC_HSE_ON;
  RCC_OscInitStruct.HSI48State = RCC_HSI48_ON;
  RCC_OscInitStruct.PLL.PLLState = RCC_PLL_ON;
  RCC_OscInitStruct.PLL.PLLSource = RCC_PLLSOURCE_HSE;
  RCC_OscInitStruct.PLL.PLLM = 5;
  RCC_OscInitStruct.PLL.PLLN = 192;
  RCC_OscInitStruct.PLL.PLLP = 2;
  RCC_OscInitStruct.PLL.PLLQ = 12;
  RCC_OscInitStruct.PLL.PLLR = 2;
  RCC_OscInitStruct.PLL.PLLRGE = RCC_PLL1VCIRANGE_2;
  RCC_OscInitStruct.PLL.PLLVCOSEL = RCC_PLL1VCOWIDE;
  RCC_OscInitStruct.PLL.PLLFRACN = 0;
  if (HAL_RCC_OscConfig(&RCC_OscInitStruct) != HAL_OK)
  {
    Error_Handler();
  }

  /** Initializes the CPU, AHB and APB buses clocks
  */
  RCC_ClkInitStruct.ClockType = RCC_CLOCKTYPE_HCLK|RCC_CLOCKTYPE_SYSCLK
                              |RCC_CLOCKTYPE_PCLK1|RCC_CLOCKTYPE_PCLK2
                              |RCC_CLOCKTYPE_D3PCLK1|RCC_CLOCKTYPE_D1PCLK1;
  RCC_ClkInitStruct.SYSCLKSource = RCC_SYSCLKSOURCE_PLLCLK;
  RCC_ClkInitStruct.SYSCLKDivider = RCC_SYSCLK_DIV1;
  RCC_ClkInitStruct.AHBCLKDivider = RCC_HCLK_DIV2;
  RCC_ClkInitStruct.APB3CLKDivider = RCC_APB3_DIV2;
  RCC_ClkInitStruct.APB1CLKDivider = RCC_APB1_DIV2;
  RCC_ClkInitStruct.APB2CLKDivider = RCC_APB2_DIV2;
  RCC_ClkInitStruct.APB4CLKDivider = RCC_APB4_DIV2;

  if (HAL_RCC_ClockConfig(&RCC_ClkInitStruct, FLASH_LATENCY_4) != HAL_OK)
  {
    Error_Handler();
  }
}

void PeriphCommonClock_Config(void)
{
  RCC_PeriphCLKInitTypeDef PeriphClkInitStruct = {0};

  /** Initializes the peripherals clock
  */
  PeriphClkInitStruct.PeriphClockSelection = RCC_PERIPHCLK_ADC;
  PeriphClkInitStruct.PLL2.PLL2M = 5;
  PeriphClkInitStruct.PLL2.PLL2N = 80;
  PeriphClkInitStruct.PLL2.PLL2P = 5;
  PeriphClkInitStruct.PLL2.PLL2Q = 2;
  PeriphClkInitStruct.PLL2.PLL2R = 2;
  PeriphClkInitStruct.PLL2.PLL2RGE = RCC_PLL2VCIRANGE_2;
  PeriphClkInitStruct.PLL2.PLL2VCOSEL = RCC_PLL2VCOWIDE;
  PeriphClkInitStruct.PLL2.PLL2FRACN = 0;
  PeriphClkInitStruct.AdcClockSelection = RCC_ADCCLKSOURCE_PLL2;
  if (HAL_RCCEx_PeriphCLKConfig(&PeriphClkInitStruct) != HAL_OK)
  {
    Error_Handler();
  }
}

/* USER CODE BEGIN 4 */

//void HAL_GPIO_EXTI_Callback(uint16_t GPIO_Pin) {
//	if (GPIO_Pin == GPIO_PIN_8 && GPIO_EXTI_FLAG == 0) {
//		timeUSBCDC = 0;
//		GPIO_EXTI_FLAG = 1;
//	}
//
//	else if (GPIO_Pin == GPIO_PIN_8 && GPIO_EXTI_FLAG == 1) {
//		timeUSBCDC = 0;
//		GPIO_EXTI_FLAG = 0;
//	}
//}

/* USER CODE END 4 */

/* MPU Configuration */

void MPU_Config(void)
{
  MPU_Region_InitTypeDef MPU_InitStruct = {0};

  /* Disables the MPU */
  HAL_MPU_Disable();

  /** Initializes and configures the Region and the memory to be protected
  */
  MPU_InitStruct.Enable = MPU_REGION_ENABLE;
  MPU_InitStruct.Number = MPU_REGION_NUMBER0;
  MPU_InitStruct.BaseAddress = 0x30000000;
  MPU_InitStruct.Size = MPU_REGION_SIZE_32KB;
  MPU_InitStruct.SubRegionDisable = 0x0;
  MPU_InitStruct.TypeExtField = MPU_TEX_LEVEL1;
  MPU_InitStruct.AccessPermission = MPU_REGION_FULL_ACCESS;
  MPU_InitStruct.DisableExec = MPU_INSTRUCTION_ACCESS_DISABLE;
  MPU_InitStruct.IsShareable = MPU_ACCESS_SHAREABLE;
  MPU_InitStruct.IsCacheable = MPU_ACCESS_NOT_CACHEABLE;
  MPU_InitStruct.IsBufferable = MPU_ACCESS_NOT_BUFFERABLE;

  HAL_MPU_ConfigRegion(&MPU_InitStruct);
  /* Enables the MPU */
  HAL_MPU_Enable(MPU_PRIVILEGED_DEFAULT);

}

void Error_Handler(void)
{
  __disable_irq();
  while (1)
  {
  }
}
